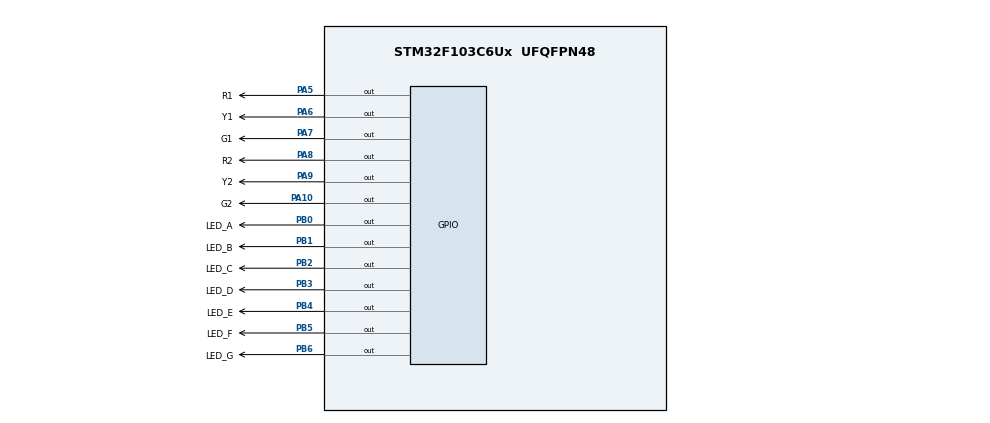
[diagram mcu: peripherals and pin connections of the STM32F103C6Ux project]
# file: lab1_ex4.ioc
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Mcu.Family=STM32F1
Mcu.Name=STM32F103C6Ux
Mcu.Package=UFQFPN48
NVIC.PriorityGroup=NVIC_PRIORITYGROUP_4
PA10.GPIO_Label=G2
PA10.Signal=GPIO_Output
PA5.GPIO_Label=R1
PA5.Signal=GPIO_Output
PA6.GPIO_Label=Y1
PA6.Signal=GPIO_Output
PA7.GPIO_Label=G1
PA7.Signal=GPIO_Output
PA8.GPIO_Label=R2
PA8.Signal=GPIO_Output
PA9.GPIO_Label=Y2
PA9.Signal=GPIO_Output
PB0.GPIO_Label=LED_A
PB0.Signal=GPIO_Output
PB1.GPIO_Label=LED_B
PB1.Signal=GPIO_Output
PB2.GPIO_Label=LED_C
PB2.Signal=GPIO_Output
PB3.GPIO_Label=LED_D
PB3.Signal=GPIO_Output
PB4.GPIO_Label=LED_E
PB4.Signal=GPIO_Output
PB5.GPIO_Label=LED_F
PB5.Signal=GPIO_Output
PB6.GPIO_Label=LED_G
PB6.Signal=GPIO_Output
ProjectManager.HeapSize=0x200
ProjectManager.StackSize=0x400
ProjectManager.TargetToolchain=STM32CubeIDE
RCC.APB1Freq_Value=8000000
RCC.APB2Freq_Value=8000000
VP_SYS_VS_ND.Mode=No_Debug
board=custom

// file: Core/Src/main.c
/* USER CODE BEGIN Header */
/**
  ******************************************************************************
  * @file           : main.c
  * @brief          : Main program body
  ******************************************************************************
  * @attention
  *
  * <h2><center>&copy; Copyright (c) 2022 STMicroelectronics.
  * All rights reserved.</center></h2>
  *
  * This software component is licensed by ST under BSD 3-Clause license,
  * the "License"; You may not use this file except in compliance with the
  * License. You may obtain a copy of the License at:
  *                        opensource.org/licenses/BSD-3-Clause
  *
  ******************************************************************************
  */
/* USER CODE END Header */
#include "main.h"

void SystemClock_Config(void);
static void MX_GPIO_Init(void);

/* USER CODE BEGIN 0 */
void display7SEG(int num);
/* USER CODE END 0 */

int main(void)
{

  /* MCU Configuration--------------------------------------------------------*/

  /* Reset of all peripherals, Initializes the Flash interface and the Systick. */
  HAL_Init();

  /* Configure the system clock */
  SystemClock_Config();

  /* Initialize all configured peripherals */
  MX_GPIO_Init();
  /* USER CODE BEGIN 2 */
  //variable for display7SEG
  int counter = 0;
  //2 variables for 2 traffic lights
  int count1 = 0;
  int count2 = 0;
  /* USER CODE END 2 */

  /* Infinite loop */
  while (1)
  {

    /* USER CODE BEGIN 3 */
	  if(count1 < 5) { //first red (5s)
		  HAL_GPIO_WritePin(R1_GPIO_Port, R1_Pin, RESET);
		  HAL_GPIO_WritePin(Y1_GPIO_Port, Y1_Pin, SET);
		  HAL_GPIO_WritePin(G1_GPIO_Port, G1_Pin, SET);
	  }
	  else {
		  if(count1 < 8) { //then green (3s)
			  HAL_GPIO_WritePin(R1_GPIO_Port, R1_Pin, SET);
			  HAL_GPIO_WritePin(Y1_GPIO_Port, Y1_Pin, SET);
			  HAL_GPIO_WritePin(G1_GPIO_Port, G1_Pin, RESET);
		  }
		  else { //finally yellow (2s)
			  HAL_GPIO_WritePin(R1_GPIO_Port, R1_Pin, SET);
			  HAL_GPIO_WritePin(Y1_GPIO_Port, Y1_Pin, RESET);
			  HAL_GPIO_WritePin(G1_GPIO_Port, G1_Pin, SET);
		  }
	  }

	  count1++;
	  if(count1 >= 10)
		  count1 = 0; //back to red

	  if(count2 < 3) { //first green (3s)
		  HAL_GPIO_WritePin(R2_GPIO_Port, R2_Pin, SET);
		  HAL_GPIO_WritePin(Y2_GPIO_Port, Y2_Pin, SET);
		  HAL_GPIO_WritePin(G2_GPIO_Port, G2_Pin, RESET);
	  }
	  else {
		  if(count2 < 5) { //then yellow (2s)
			  HAL_GPIO_WritePin(R2_GPIO_Port, R2_Pin, SET);
			  HAL_GPIO_WritePin(Y2_GPIO_Port, Y2_Pin, RESET);
			  HAL_GPIO_WritePin(G2_GPIO_Port, G2_Pin, SET);
		  }
		  else { //finally red (5s)
			  HAL_GPIO_WritePin(R2_GPIO_Port, R2_Pin, RESET);
			  HAL_GPIO_WritePin(Y2_GPIO_Port, Y2_Pin, SET);
			  HAL_GPIO_WritePin(G2_GPIO_Port, G2_Pin, SET);
		  }
	  }

	  count2++;
	  if(count2 >= 10)
		  count2 = 0; //back to green

	  //7SEG counts from 0 to 9 seconds
	  if(counter >= 10)
		  counter = 0;
	  display7SEG(counter++);
	  HAL_Delay(1000);
  }
  /* USER CODE END 3 */
}

void SystemClock_Config(void)
{
  RCC_OscInitTypeDef RCC_OscInitStruct = {0};
  RCC_ClkInitTypeDef RCC_ClkInitStruct = {0};

  /** Initializes the RCC Oscillators according to the specified parameters
  * in the RCC_OscInitTypeDef structure.
  */
  RCC_OscInitStruct.OscillatorType = RCC_OSCILLATORTYPE_HSI;
  RCC_OscInitStruct.HSIState = RCC_HSI_ON;
  RCC_OscInitStruct.HSICalibrationValue = RCC_HSICALIBRATION_DEFAULT;
  RCC_OscInitStruct.PLL.PLLState = RCC_PLL_NONE;
  if (HAL_RCC_OscConfig(&RCC_OscInitStruct) != HAL_OK)
  {
    Error_Handler();
  }
  /** Initializes the CPU, AHB and APB buses clocks
  */
  RCC_ClkInitStruct.ClockType = RCC_CLOCKTYPE_HCLK|RCC_CLOCKTYPE_SYSCLK
                              |RCC_CLOCKTYPE_PCLK1|RCC_CLOCKTYPE_PCLK2;
  RCC_ClkInitStruct.SYSCLKSource = RCC_SYSCLKSOURCE_HSI;
  RCC_ClkInitStruct.AHBCLKDivider = RCC_SYSCLK_DIV1;
  RCC_ClkInitStruct.APB1CLKDivider = RCC_HCLK_DIV1;
  RCC_ClkInitStruct.APB2CLKDivider = RCC_HCLK_DIV1;

  if (HAL_RCC_ClockConfig(&RCC_ClkInitStruct, FLASH_LATENCY_0) != HAL_OK)
  {
    Error_Handler();
  }
}

static void MX_GPIO_Init(void)
{
  GPIO_InitTypeDef GPIO_InitStruct = {0};

  /* GPIO Ports Clock Enable */
  __HAL_RCC_GPIOA_CLK_ENABLE();
  __HAL_RCC_GPIOB_CLK_ENABLE();

  /*Configure GPIO pin Output Level */
  HAL_GPIO_WritePin(GPIOA, R1_Pin|Y1_Pin|G1_Pin|R2_Pin
                          |Y2_Pin|G2_Pin, GPIO_PIN_RESET);

  /*Configure GPIO pin Output Level */
  HAL_GPIO_WritePin(GPIOB, LED_A_Pin|LED_B_Pin|LED_C_Pin|LED_D_Pin
                          |LED_E_Pin|LED_F_Pin|LED_G_Pin, GPIO_PIN_RESET);

  /*Configure GPIO pins : R1_Pin Y1_Pin G1_Pin R2_Pin
                           Y2_Pin G2_Pin */
  GPIO_InitStruct.Pin = R1_Pin|Y1_Pin|G1_Pin|R2_Pin
                          |Y2_Pin|G2_Pin;
  GPIO_InitStruct.Mode = GPIO_MODE_OUTPUT_PP;
  GPIO_InitStruct.Pull = GPIO_NOPULL;
  GPIO_InitStruct.Speed = GPIO_SPEED_FREQ_LOW;
  HAL_GPIO_Init(GPIOA, &GPIO_InitStruct);

  /*Configure GPIO pins : LED_A_Pin LED_B_Pin LED_C_Pin LED_D_Pin
                           LED_E_Pin LED_F_Pin LED_G_Pin */
  GPIO_InitStruct.Pin = LED_A_Pin|LED_B_Pin|LED_C_Pin|LED_D_Pin
                          |LED_E_Pin|LED_F_Pin|LED_G_Pin;
  GPIO_InitStruct.Mode = GPIO_MODE_OUTPUT_PP;
  GPIO_InitStruct.Pull = GPIO_NOPULL;
  GPIO_InitStruct.Speed = GPIO_SPEED_FREQ_LOW;
  HAL_GPIO_Init(GPIOB, &GPIO_InitStruct);

}

/* USER CODE BEGIN 4 */
void display7SEG(int num) {
	// list of numeric states of 7 segments
	int dis_arr[10] = { 0x3f, 0x06, 0x5b, 0x4f, 0x66, 0x6d, 0x7d, 0x07, 0x7f, 0x6f };
	int bit_var, var2;

	var2 = ~dis_arr[num]; // index starts from 0
	bit_var = var2 & 0x01; // keeping LSB and masking other bits
	HAL_GPIO_WritePin(GPIOB, LED_A_Pin, bit_var);

	bit_var = (var2>>1) & 0x01; // right shift by 1
	HAL_GPIO_WritePin(GPIOB, LED_B_Pin, bit_var);

	bit_var = (var2>>2) & 0x01; // original variable right shift by 2 and then masking
	HAL_GPIO_WritePin(GPIOB, LED_C_Pin, bit_var);

	bit_var = (var2>>3) & 0x01; // original variable right shift by 3 and then masking
	HAL_GPIO_WritePin(GPIOB, LED_D_Pin, bit_var);

	bit_var = (var2>>4) & 0x01; // original variable right shift by 4 and then masking
	HAL_GPIO_WritePin(GPIOB, LED_E_Pin, bit_var);

	bit_var = (var2>>5) & 0x01; // original variable right shift by 5 and then masking
	HAL_GPIO_WritePin(GPIOB, LED_F_Pin, bit_var);

	bit_var = (var2>>6) & 0x01; // original variable right shift by 6 and then masking
	HAL_GPIO_WritePin(GPIOB, LED_G_Pin, bit_var);
}
/* USER CODE END 4 */

void Error_Handler(void)
{
  __disable_irq();
  while (1)
  {
  }
}

/************************ (C) COPYRIGHT STMicroelectronics *****END OF FILE****/
